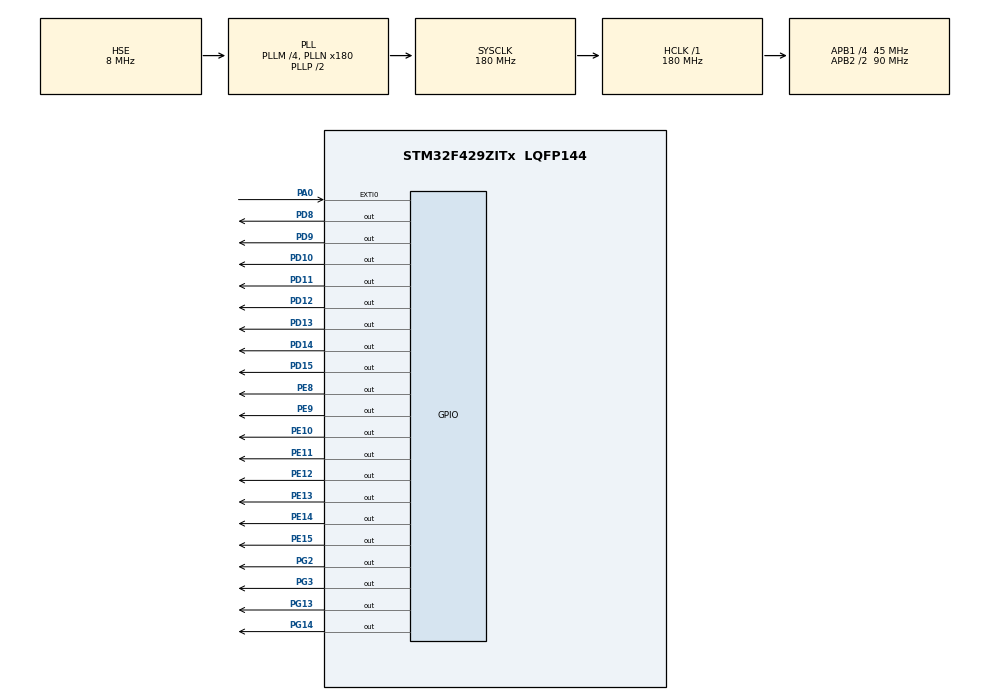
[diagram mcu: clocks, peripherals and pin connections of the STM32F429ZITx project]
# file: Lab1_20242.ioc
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Mcu.Family=STM32F4
Mcu.Name=STM32F429ZITx
Mcu.Package=LQFP144
NVIC.EXTI0_IRQn=true\:0\:0\:false\:false\:true\:true\:true\:true
NVIC.PriorityGroup=NVIC_PRIORITYGROUP_4
NVIC.TIM6_DAC_IRQn=true\:0\:0\:false\:false\:true\:true\:true\:true
PA0/WKUP.Signal=GPXTI0
PD10.Signal=GPIO_Output
PD11.Signal=GPIO_Output
PD12.Signal=GPIO_Output
PD13.Signal=GPIO_Output
PD14.Signal=GPIO_Output
PD15.Signal=GPIO_Output
PD8.Signal=GPIO_Output
PD9.Signal=GPIO_Output
PE10.Signal=GPIO_Output
PE11.Signal=GPIO_Output
PE12.Signal=GPIO_Output
PE13.Signal=GPIO_Output
PE14.Signal=GPIO_Output
PE15.Signal=GPIO_Output
PE8.Signal=GPIO_Output
PE9.Signal=GPIO_Output
PG13.Signal=GPIO_Output
PG14.Signal=GPIO_Output
PG2.Signal=GPIO_Output
PG3.Signal=GPIO_Output
PH0/OSC_IN.Mode=HSE-External-Oscillator
PH0/OSC_IN.Signal=RCC_OSC_IN
PH1/OSC_OUT.Mode=HSE-External-Oscillator
PH1/OSC_OUT.Signal=RCC_OSC_OUT
ProjectManager.HeapSize=0x200
ProjectManager.StackSize=0x400
ProjectManager.TargetToolchain=STM32CubeIDE
RCC.48MHZClocksFreq_Value=90000000
RCC.AHBFreq_Value=180000000
RCC.APB1CLKDivider=RCC_HCLK_DIV4
RCC.APB1Freq_Value=45000000
RCC.APB1TimFreq_Value=90000000
RCC.APB2CLKDivider=RCC_HCLK_DIV2
RCC.APB2Freq_Value=90000000
RCC.APB2TimFreq_Value=180000000
RCC.CortexFreq_Value=180000000
RCC.HCLKFreq_Value=180000000
RCC.HSE_VALUE=8000000
RCC.HSI_VALUE=16000000
RCC.LSE_VALUE=32768
RCC.PLLM=4
RCC.PLLN=180
RCC.PLLSourceVirtual=RCC_PLLSOURCE_HSE
RCC.SYSCLKFreq_VALUE=180000000
RCC.SYSCLKSource=RCC_SYSCLKSOURCE_PLLCLK
RCC.VCOOutputFreq_Value=360000000
TIM6.Period=99
TIM6.Prescaler=89
VP_TIM6_VS_ClockSourceINT.Mode=Enable_Timer
board=custom

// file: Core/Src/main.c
/* USER CODE BEGIN Header */
/**
  ******************************************************************************
  * @file           : main.c
  * @brief          : Main program body
  ******************************************************************************
  * @attention
  *
  * Copyright (c) 2025 STMicroelectronics.
  * All rights reserved.
  *
  * This software is licensed under terms that can be found in the LICENSE file
  * in the root directory of this software component.
  * If no LICENSE file comes with this software, it is provided AS-IS.
  *
  ******************************************************************************
  */
/* USER CODE END Header */
#include "main.h"

/* USER CODE BEGIN Includes */
#include <stdio.h>
#include "7seg.h"
/* USER CODE END Includes */

TIM_HandleTypeDef htim6;

/* USER CODE BEGIN PV */
int TIM6_Count;
unsigned char LED_Value ;
int flag = 1;
int i ;
int display_value = 0 ;
/* USER CODE END PV */

void SystemClock_Config(void);
static void MX_GPIO_Init(void);
static void MX_TIM6_Init(void);

/* USER CODE BEGIN 0 */
void DisplayLEDs(int mode)
{
if (mode == 1)
{
LED_Value = (LED_Value >> 1) | (LED_Value << 7);
}
if(mode == 2)
	{
		if(flag)
			flag = 0;
		else
			LED_Value = (LED_Value  << 1) | (LED_Value >> 7);
	}
if(mode == 3)
{
	if(flag == 1)
		       {
		            LED_Value = 0xFF;
		            flag = 0;
		       }
		       else
		       {
		            LED_Value = 0x00;
		            flag = 1;
		       }
}
if(mode == 4){
		uint8_t value[8] = {0x81, 0x42, 0x24, 0x18,  0x24, 0x42, 0x81, 0x00};
				LED_Value = value[i];
				i++;
				if (i == 8) i = 0;
	}

if (LED_Value & 0x80)
	HAL_GPIO_WritePin(GPIOD, GPIO_PIN_15, GPIO_PIN_SET);
else
	HAL_GPIO_WritePin(GPIOD, GPIO_PIN_15, GPIO_PIN_RESET);
if (LED_Value & 0x40)
	HAL_GPIO_WritePin(GPIOD, GPIO_PIN_14, GPIO_PIN_SET);
else
	HAL_GPIO_WritePin(GPIOD, GPIO_PIN_14, GPIO_PIN_RESET);
if (LED_Value & 0x20)
	HAL_GPIO_WritePin(GPIOD, GPIO_PIN_13, GPIO_PIN_SET);
else
	HAL_GPIO_WritePin(GPIOD, GPIO_PIN_13, GPIO_PIN_RESET);
if (LED_Value & 0x10)
	HAL_GPIO_WritePin(GPIOD, GPIO_PIN_12, GPIO_PIN_SET);
else
	HAL_GPIO_WritePin(GPIOD, GPIO_PIN_12, GPIO_PIN_RESET);
if (LED_Value & 0x8)
	HAL_GPIO_WritePin(GPIOD, GPIO_PIN_11, GPIO_PIN_SET);
else
	HAL_GPIO_WritePin(GPIOD, GPIO_PIN_11, GPIO_PIN_RESET);
if (LED_Value & 0x4)
	HAL_GPIO_WritePin(GPIOD, GPIO_PIN_10, GPIO_PIN_SET);
else
	HAL_GPIO_WritePin(GPIOD, GPIO_PIN_10, GPIO_PIN_RESET);
if (LED_Value & 0x2)
	HAL_GPIO_WritePin(GPIOD, GPIO_PIN_9, GPIO_PIN_SET);
else
	HAL_GPIO_WritePin(GPIOD, GPIO_PIN_9, GPIO_PIN_RESET);
if (LED_Value & 0x1)
	HAL_GPIO_WritePin(GPIOD, GPIO_PIN_8, GPIO_PIN_SET);
else
	HAL_GPIO_WritePin(GPIOD, GPIO_PIN_8, GPIO_PIN_RESET);
}

void HAL_GPIO_EXTI_Callback(uint16_t GPIO_Pin) {
    if (GPIO_Pin == GPIO_PIN_0) {
        display_value++;
        if (display_value > 99) {
            display_value = 0;
        }
        Set7SegDisplayValue(display_value);
    }
}
/* USER CODE END 0 */

int main(void)
{

  /* USER CODE BEGIN 1 */
  TIM6_Count = 0;
  /* USER CODE END 1 */

  /* MCU Configuration--------------------------------------------------------*/

  /* Reset of all peripherals, Initializes the Flash interface and the Systick. */
  HAL_Init();

  /* Configure the system clock */
  SystemClock_Config();

  /* Initialize all configured peripherals */
  MX_GPIO_Init();
  MX_TIM6_Init();
  /* USER CODE BEGIN 2 */
  HAL_TIM_Base_Start_IT(&htim6);
  /* USER CODE END 2 */

  /* Infinite loop */
  /* USER CODE BEGIN WHILE */
  LED_Value = 1;
  while (1)
  {
	  HAL_Delay(5);
	  Run7SegDisplay();
	  DisplayLEDs(1);
    /* USER CODE END WHILE */

  }
}

void SystemClock_Config(void)
{
  RCC_OscInitTypeDef RCC_OscInitStruct = {0};
  RCC_ClkInitTypeDef RCC_ClkInitStruct = {0};

  /** Configure the main internal regulator output voltage
  */
  __HAL_RCC_PWR_CLK_ENABLE();
  __HAL_PWR_VOLTAGESCALING_CONFIG(PWR_REGULATOR_VOLTAGE_SCALE1);

  /** Initializes the RCC Oscillators according to the specified parameters
  * in the RCC_OscInitTypeDef structure.
  */
  RCC_OscInitStruct.OscillatorType = RCC_OSCILLATORTYPE_HSE;
  RCC_OscInitStruct.HSEState = RCC_HSE_ON;
  RCC_OscInitStruct.PLL.PLLState = RCC_PLL_ON;
  RCC_OscInitStruct.PLL.PLLSource = RCC_PLLSOURCE_HSE;
  RCC_OscInitStruct.PLL.PLLM = 4;
  RCC_OscInitStruct.PLL.PLLN = 180;
  RCC_OscInitStruct.PLL.PLLP = RCC_PLLP_DIV2;
  RCC_OscInitStruct.PLL.PLLQ = 4;
  if (HAL_RCC_OscConfig(&RCC_OscInitStruct) != HAL_OK)
  {
    Error_Handler();
  }

  /** Activate the Over-Drive mode
  */
  if (HAL_PWREx_EnableOverDrive() != HAL_OK)
  {
    Error_Handler();
  }

  /** Initializes the CPU, AHB and APB buses clocks
  */
  RCC_ClkInitStruct.ClockType = RCC_CLOCKTYPE_HCLK|RCC_CLOCKTYPE_SYSCLK
                              |RCC_CLOCKTYPE_PCLK1|RCC_CLOCKTYPE_PCLK2;
  RCC_ClkInitStruct.SYSCLKSource = RCC_SYSCLKSOURCE_PLLCLK;
  RCC_ClkInitStruct.AHBCLKDivider = RCC_SYSCLK_DIV1;
  RCC_ClkInitStruct.APB1CLKDivider = RCC_HCLK_DIV4;
  RCC_ClkInitStruct.APB2CLKDivider = RCC_HCLK_DIV2;

  if (HAL_RCC_ClockConfig(&RCC_ClkInitStruct, FLASH_LATENCY_5) != HAL_OK)
  {
    Error_Handler();
  }
}

static void MX_TIM6_Init(void)
{

  TIM_MasterConfigTypeDef sMasterConfig = {0};

  htim6.Instance = TIM6;
  htim6.Init.Prescaler = 89;
  htim6.Init.CounterMode = TIM_COUNTERMODE_UP;
  htim6.Init.Period = 99;
  htim6.Init.AutoReloadPreload = TIM_AUTORELOAD_PRELOAD_DISABLE;
  if (HAL_TIM_Base_Init(&htim6) != HAL_OK)
  {
    Error_Handler();
  }
  sMasterConfig.MasterOutputTrigger = TIM_TRGO_RESET;
  sMasterConfig.MasterSlaveMode = TIM_MASTERSLAVEMODE_DISABLE;
  if (HAL_TIMEx_MasterConfigSynchronization(&htim6, &sMasterConfig) != HAL_OK)
  {
    Error_Handler();
  }

}

static void MX_GPIO_Init(void)
{
  GPIO_InitTypeDef GPIO_InitStruct = {0};

  /* GPIO Ports Clock Enable */
  __HAL_RCC_GPIOH_CLK_ENABLE();
  __HAL_RCC_GPIOA_CLK_ENABLE();
  __HAL_RCC_GPIOE_CLK_ENABLE();
  __HAL_RCC_GPIOD_CLK_ENABLE();
  __HAL_RCC_GPIOG_CLK_ENABLE();

  /*Configure GPIO pin Output Level */
  HAL_GPIO_WritePin(GPIOE, GPIO_PIN_8|GPIO_PIN_9|GPIO_PIN_10|GPIO_PIN_11
                          |GPIO_PIN_12|GPIO_PIN_13|GPIO_PIN_14|GPIO_PIN_15, GPIO_PIN_RESET);

  /*Configure GPIO pin Output Level */
  HAL_GPIO_WritePin(GPIOD, GPIO_PIN_8|GPIO_PIN_9|GPIO_PIN_10|GPIO_PIN_11
                          |GPIO_PIN_12|GPIO_PIN_13|GPIO_PIN_14|GPIO_PIN_15, GPIO_PIN_RESET);

  /*Configure GPIO pin Output Level */
  HAL_GPIO_WritePin(GPIOG, GPIO_PIN_2|GPIO_PIN_3|GPIO_PIN_13|GPIO_PIN_14, GPIO_PIN_RESET);

  /*Configure GPIO pin : PA0 */
  GPIO_InitStruct.Pin = GPIO_PIN_0;
  GPIO_InitStruct.Mode = GPIO_MODE_IT_RISING;
  GPIO_InitStruct.Pull = GPIO_NOPULL;
  HAL_GPIO_Init(GPIOA, &GPIO_InitStruct);

  /*Configure GPIO pins : PE8 PE9 PE10 PE11
                           PE12 PE13 PE14 PE15 */
  GPIO_InitStruct.Pin = GPIO_PIN_8|GPIO_PIN_9|GPIO_PIN_10|GPIO_PIN_11
                          |GPIO_PIN_12|GPIO_PIN_13|GPIO_PIN_14|GPIO_PIN_15;
  GPIO_InitStruct.Mode = GPIO_MODE_OUTPUT_PP;
  GPIO_InitStruct.Pull = GPIO_NOPULL;
  GPIO_InitStruct.Speed = GPIO_SPEED_FREQ_LOW;
  HAL_GPIO_Init(GPIOE, &GPIO_InitStruct);

  /*Configure GPIO pins : PD8 PD9 PD10 PD11
                           PD12 PD13 PD14 PD15 */
  GPIO_InitStruct.Pin = GPIO_PIN_8|GPIO_PIN_9|GPIO_PIN_10|GPIO_PIN_11
                          |GPIO_PIN_12|GPIO_PIN_13|GPIO_PIN_14|GPIO_PIN_15;
  GPIO_InitStruct.Mode = GPIO_MODE_OUTPUT_PP;
  GPIO_InitStruct.Pull = GPIO_NOPULL;
  GPIO_InitStruct.Speed = GPIO_SPEED_FREQ_LOW;
  HAL_GPIO_Init(GPIOD, &GPIO_InitStruct);

  /*Configure GPIO pins : PG2 PG3 PG13 PG14 */
  GPIO_InitStruct.Pin = GPIO_PIN_2|GPIO_PIN_3|GPIO_PIN_13|GPIO_PIN_14;
  GPIO_InitStruct.Mode = GPIO_MODE_OUTPUT_PP;
  GPIO_InitStruct.Pull = GPIO_NOPULL;
  GPIO_InitStruct.Speed = GPIO_SPEED_FREQ_LOW;
  HAL_GPIO_Init(GPIOG, &GPIO_InitStruct);

  /* EXTI interrupt init*/
  HAL_NVIC_SetPriority(EXTI0_IRQn, 0, 0);
  HAL_NVIC_EnableIRQ(EXTI0_IRQn);

}

void Error_Handler(void)
{
  __disable_irq();
  while (1)
  {
  }
}
